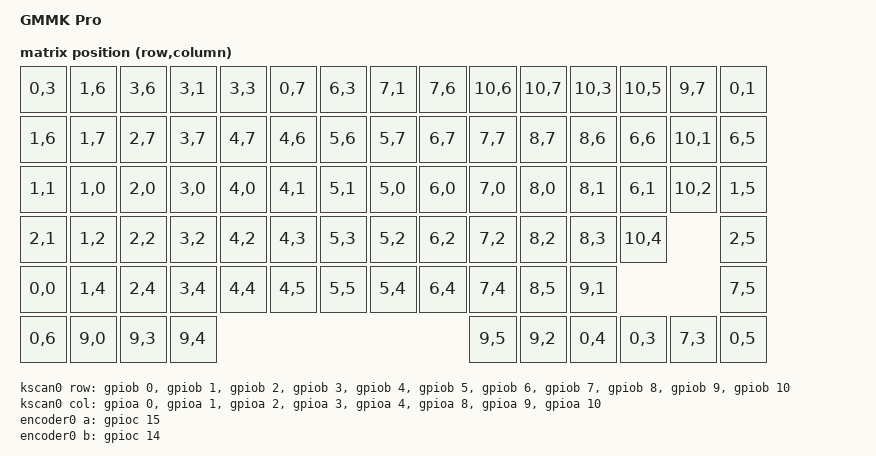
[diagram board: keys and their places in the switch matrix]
#include <dt-bindings/zmk/matrix_transform.h>
#include <st/f3/stm32f303.dtsi>

/ {
    model = "GMMK Pro";
	compatible = "Glorious,gmmk_pro", "st,stm32f303";
    chosen {
        zephyr,sram = &sram0;
        zephyr,flash = &flash0;
        zmk,kscan = &kscan0;
        zmk,matrix-transform = &default_transform;
    };

    default_transform: keymap_transform_0 {
        compatible = "zmk,matrix-transform";
        rows = <11>;
        columns = <8>;
        map = <
            RC(0,3)  RC(1,6)  RC(3,6)  RC(3,1)  RC(3,3)  RC(0,7)  RC(6,3)  RC(7,1)  RC(7,6)  RC(10,6) RC(10,7) RC(10,3) RC(10,5) RC(9,7)  RC(0,1)
            RC(1,6)  RC(1,7)  RC(2,7)  RC(3,7)  RC(4,7)  RC(4,6)  RC(5,6)  RC(5,7)  RC(6,7)  RC(7,7)  RC(8,7)  RC(8,6)  RC(6,6)  RC(10,1) RC(6,5)
            RC(1,1)  RC(1,0)  RC(2,0)  RC(3,0)  RC(4,0)  RC(4,1)  RC(5,1)  RC(5,0)  RC(6,0)  RC(7,0)  RC(8,0)  RC(8,1)  RC(6,1)  RC(10,2) RC(1,5)
            RC(2,1)  RC(1,2)  RC(2,2)  RC(3,2)  RC(4,2)  RC(4,3)  RC(5,3)  RC(5,2)  RC(6,2)  RC(7,2)  RC(8,2)  RC(8,3)  RC(10,4)          RC(2,5)
            RC(0,0)  RC(1,4)  RC(2,4)  RC(3,4)  RC(4,4)  RC(4,5)  RC(5,5)  RC(5,4)  RC(6,4)  RC(7,4)  RC(8,5)  RC(9,1)                    RC(7,5)
            RC(0,6)  RC(9,0)  RC(9,3)  RC(9,4)                                               RC(9,5)  RC(9,2)  RC(0,4)  RC(0,3)  RC(7,3)  RC(0,5)
        >;
    };

    kscan0: kscan_0 {
        compatible = "zmk,kscan-gpio-matrix";
        label = "KSCAN";
        diode-direction = "col2row"; 

        col-gpios = <
            &gpioa 0 GPIO_ACTIVE_LOW
            &gpioa 1 GPIO_ACTIVE_LOW
            &gpioa 2 GPIO_ACTIVE_LOW
            &gpioa 3 GPIO_ACTIVE_LOW
            &gpioa 4 GPIO_ACTIVE_LOW
            &gpioa 8 GPIO_ACTIVE_LOW
            &gpioa 9 GPIO_ACTIVE_LOW
            &gpioa 10 GPIO_ACTIVE_LOW
        >;

        row-gpios = <
            &gpiob 0 GPIO_ACTIVE_LOW
            &gpiob 1 GPIO_ACTIVE_LOW
            &gpiob 2 GPIO_ACTIVE_LOW
            &gpiob 3 GPIO_ACTIVE_LOW
            &gpiob 4 GPIO_ACTIVE_LOW
            &gpiob 5 GPIO_ACTIVE_LOW
            &gpiob 6 GPIO_ACTIVE_LOW
            &gpiob 7 GPIO_ACTIVE_LOW
            &gpiob 8 GPIO_ACTIVE_LOW
            &gpiob 9 GPIO_ACTIVE_LOW
            &gpiob 10 GPIO_ACTIVE_LOW
        >;
    };

    encoder0: encoder_0 {
        compatible = "alps,ec11";
        label = "ENCODER";
        a-gpios = <&gpioc 15 GPIO_ACTIVE_HIGH>;
        b-gpios = <&gpioc 14 GPIO_ACTIVE_HIGH>;
        steps = <4>; // typischer Wert, ggf. anpassen
        status = "okay";
    };


    // &spi1 {
    //    status = "okay";
    //    pinctrl-0 = <&spi1_sck_a5 &spi1_mosi_a6 &spi1_miso_a7>;
    //    pinctrl-names = "default";
    //    cs-gpios = <&gpiob 13 GPIO_ACTIVE_LOW>, <&gpiob 14 GPIO_ACTIVE_LOW>;
    //};

    //led_matrix: aw20216s@0 {
    //    compatible = "awinic,aw20216s";
    //    reg = <0>;
    //    spi-max-frequency = <10000000>;
    //    enable-gpios = <&gpioc 13 GPIO_ACTIVE_HIGH>;
        // Weitere Properties, sobald ein Treiber verfügbar ist
    //};
    
    //&pinctrl {
    //spi1_sck_a5: spi1_sck_a5 {
    //    pinmux = <STM32_PINMUX('A', 5, GPIO_AF5)>;
    //};
    //spi1_mosi_a6: spi1_mosi_a6 {
    //    pinmux = <STM32_PINMUX('A', 6, GPIO_AF5)>;
    //};
    //spi1_miso_a7: spi1_miso_a7 {
    //    pinmux = <STM32_PINMUX('A', 7, GPIO_AF5)>;
    //};
};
